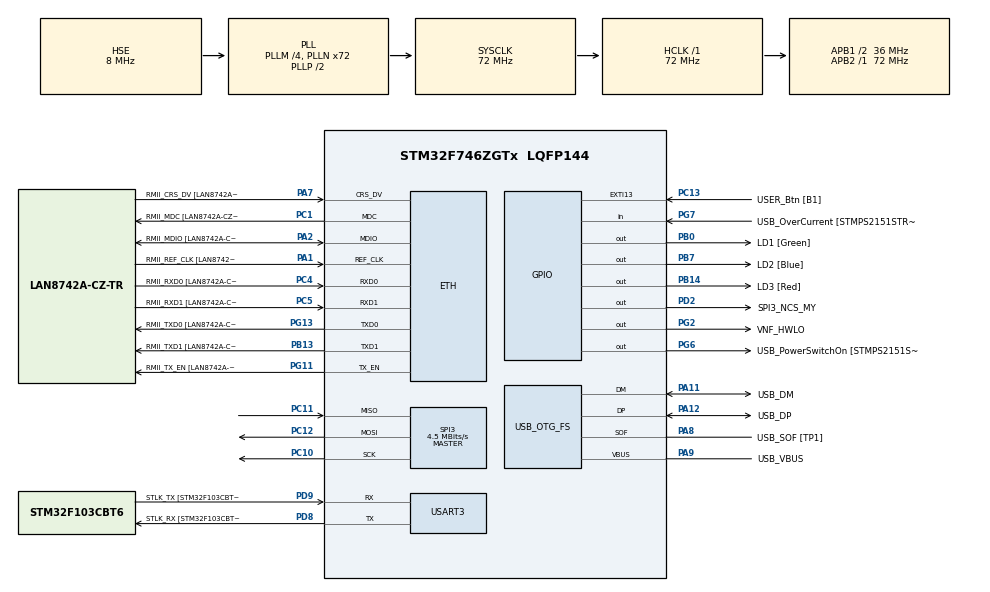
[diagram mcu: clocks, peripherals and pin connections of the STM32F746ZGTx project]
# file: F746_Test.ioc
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ETH.MediaInterface=HAL_ETH_RMII_MODE
ETH.PHY_Name=LAN8742A_PHY_ADDRESS
ETH.PHY_Value=0
ETH.PhyAddress=0
Mcu.Family=STM32F7
Mcu.Name=STM32F746ZGTx
Mcu.Package=LQFP144
NVIC.PriorityGroup=NVIC_PRIORITYGROUP_4
PA1.GPIO_Label=RMII_REF_CLK [LAN8742A-CZ-TR_REFCLK0]
PA1.Mode=RMII
PA1.Signal=ETH_REF_CLK
PA10.GPIO_Label=USB_ID
PA10.Signal=USB_OTG_FS_ID
PA11.GPIO_Label=USB_DM
PA11.Mode=Device_Only
PA11.Signal=USB_OTG_FS_DM
PA12.GPIO_Label=USB_DP
PA12.Mode=Device_Only
PA12.Signal=USB_OTG_FS_DP
PA13.GPIO_Label=TMS
PA13.Mode=Serial_Wire
PA13.Signal=SYS_JTMS-SWDIO
PA14.GPIO_Label=TCK
PA14.Mode=Serial_Wire
PA14.Signal=SYS_JTCK-SWCLK
PA2.GPIO_Label=RMII_MDIO [LAN8742A-CZ-TR_MDIO]
PA2.Mode=RMII
PA2.Signal=ETH_MDIO
PA7.GPIO_Label=RMII_CRS_DV [LAN8742A-CZ-TR_CRS_DV]
PA7.Mode=RMII
PA7.Signal=ETH_CRS_DV
PA8.GPIO_Label=USB_SOF [TP1]
PA8.Mode=Activate_SOF_FS
PA8.Signal=USB_OTG_FS_SOF
PA9.GPIO_Label=USB_VBUS
PA9.Mode=Activate_VBUS
PA9.Signal=USB_OTG_FS_VBUS
PB0.GPIO_Label=LD1 [Green]
PB0.Signal=GPIO_Output
PB13.GPIO_Label=RMII_TXD1 [LAN8742A-CZ-TR_TXD1]
PB13.Mode=RMII
PB13.Signal=ETH_TXD1
PB14.GPIO_Label=LD3 [Red]
PB14.Signal=GPIO_Output
PB3.GPIO_Label=SW0
PB3.Signal=SYS_JTDO-SWO
PB7.GPIO_Label=LD2 [Blue]
PB7.Signal=GPIO_Output
PC1.GPIO_Label=RMII_MDC [LAN8742A-CZ-TR_MDC]
PC1.Mode=RMII
PC1.Signal=ETH_MDC
PC10.Mode=Full_Duplex_Master
PC10.Signal=SPI3_SCK
PC11.Mode=Full_Duplex_Master
PC11.Signal=SPI3_MISO
PC12.Mode=Full_Duplex_Master
PC12.Signal=SPI3_MOSI
PC13.GPIO_Label=USER_Btn [B1]
PC13.Signal=GPXTI13
PC14/OSC32_IN.Mode=LSE-External-Oscillator
PC14/OSC32_IN.Signal=RCC_OSC32_IN
PC15/OSC32_OUT.Mode=LSE-External-Oscillator
PC15/OSC32_OUT.Signal=RCC_OSC32_OUT
PC4.GPIO_Label=RMII_RXD0 [LAN8742A-CZ-TR_RXD0]
PC4.Mode=RMII
PC4.Signal=ETH_RXD0
PC5.GPIO_Label=RMII_RXD1 [LAN8742A-CZ-TR_RXD1]
PC5.Mode=RMII
PC5.Signal=ETH_RXD1
PD2.GPIO_Label=SPI3_NCS_MY
PD2.Signal=GPIO_Output
PD8.GPIO_Label=STLK_RX [STM32F103CBT6_PA3]
PD8.Mode=Asynchronous
PD8.Signal=USART3_TX
PD9.GPIO_Label=STLK_TX [STM32F103CBT6_PA2]
PD9.Mode=Asynchronous
PD9.Signal=USART3_RX
PG11.GPIO_Label=RMII_TX_EN [LAN8742A-CZ-TR_TXEN]
PG11.Mode=RMII
PG11.Signal=ETH_TX_EN
PG13.GPIO_Label=RMII_TXD0 [LAN8742A-CZ-TR_TXD0]
PG13.Mode=RMII
PG13.Signal=ETH_TXD0
PG2.GPIO_Label=VNF_HWLO
PG2.Signal=GPIO_Output
PG6.GPIO_Label=USB_PowerSwitchOn [STMPS2151STR_EN]
PG6.Signal=GPIO_Output
PG7.GPIO_Label=USB_OverCurrent [STMPS2151STR_FAULT]
PG7.Signal=GPIO_Input
PH0/OSC_IN.GPIO_Label=MCO [STM32F103CBT6_PA8]
PH0/OSC_IN.Mode=HSE-External-Clock-Source
PH0/OSC_IN.Signal=RCC_OSC_IN
PH1/OSC_OUT.Mode=HSE-External-Clock-Source
PH1/OSC_OUT.Signal=RCC_OSC_OUT
ProjectManager.HeapSize=0x200
ProjectManager.StackSize=0x400
ProjectManager.TargetToolchain=STM32CubeIDE
RCC.48MHZClocksFreq_Value=24000000
RCC.AHBFreq_Value=72000000
RCC.APB1CLKDivider=RCC_HCLK_DIV2
RCC.APB1Freq_Value=36000000
RCC.APB1TimFreq_Value=72000000
RCC.APB2Freq_Value=72000000
RCC.APB2TimFreq_Value=72000000
RCC.CortexFreq_Value=72000000
RCC.HCLKFreq_Value=72000000
RCC.HSE_VALUE=8000000
RCC.HSI_VALUE=16000000
RCC.PLLM=4
RCC.PLLMUL=RCC_PLL_MUL9
RCC.PLLN=72
RCC.PLLQ=3
RCC.PRESCALERUSB=RCC_USBCLKSOURCE_PLL_DIV1_5
RCC.SYSCLKFreq_VALUE=72000000
RCC.SYSCLKSource=RCC_SYSCLKSOURCE_PLLCLK
RCC.SYSCLKSourceVirtual=RCC_SYSCLKSOURCE_PLLCLK
RCC.USBFreq_Value=48000000
RCC.VCOOutputFreq_Value=144000000
SPI3.BaudRatePrescaler=SPI_BAUDRATEPRESCALER_8
SPI3.CalculateBaudRate=4.5 MBits/s
SPI3.DataSize=SPI_DATASIZE_8BIT
SPI3.Direction=SPI_DIRECTION_2LINES
SPI3.Mode=SPI_MODE_MASTER
SPI3.NSSPMode=SPI_NSS_PULSE_DISABLE
SPI3.VirtualType=VM_MASTER
USART3.VirtualMode-Asynchronous=VM_ASYNC
USB_OTG_FS.VirtualMode=Device_Only
board=NUCLEO-F746ZG

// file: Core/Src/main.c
/* USER CODE BEGIN Header */
/**
  ******************************************************************************
  * @file           : main.c
  * @brief          : Main program body
  ******************************************************************************
  * @attention
  *
  * Copyright (c) 2023 STMicroelectronics.
  * All rights reserved.
  *
  * This software is licensed under terms that can be found in the LICENSE file
  * in the root directory of this software component.
  * If no LICENSE file comes with this software, it is provided AS-IS.
  *
  ******************************************************************************
  */
/* USER CODE END Header */
#include "main.h"
#include "string.h"

/* USER CODE BEGIN Includes */
#include "vnf1048.h"
/* USER CODE END Includes */

#if defined ( __ICCARM__ ) /*!< IAR Compiler */
#pragma location=0x2004c000
ETH_DMADescTypeDef  DMARxDscrTab[ETH_RX_DESC_CNT]; /* Ethernet Rx DMA Descriptors */
#pragma location=0x2004c0a0
ETH_DMADescTypeDef  DMATxDscrTab[ETH_TX_DESC_CNT]; /* Ethernet Tx DMA Descriptors */

#elif defined ( __CC_ARM )  /* MDK ARM Compiler */

__attribute__((at(0x2004c000))) ETH_DMADescTypeDef  DMARxDscrTab[ETH_RX_DESC_CNT]; /* Ethernet Rx DMA Descriptors */
__attribute__((at(0x2004c0a0))) ETH_DMADescTypeDef  DMATxDscrTab[ETH_TX_DESC_CNT]; /* Ethernet Tx DMA Descriptors */

#elif defined ( __GNUC__ ) /* GNU Compiler */
ETH_DMADescTypeDef DMARxDscrTab[ETH_RX_DESC_CNT] __attribute__((section(".RxDecripSection"))); /* Ethernet Rx DMA Descriptors */
ETH_DMADescTypeDef DMATxDscrTab[ETH_TX_DESC_CNT] __attribute__((section(".TxDecripSection")));   /* Ethernet Tx DMA Descriptors */

#endif

ETH_TxPacketConfig TxConfig;

ETH_HandleTypeDef heth;

SPI_HandleTypeDef hspi3;

UART_HandleTypeDef huart3;

PCD_HandleTypeDef hpcd_USB_OTG_FS;

/* USER CODE BEGIN PV */
#ifdef __GNUC__
#define PUTCHAR_PROTOTYPE int __io_putchar(int ch)
#else
#define PUTCHAR_PROTOTYPE int fputc(int ch, FILE *f)
#endif

/*PUTCHAR_PROTOTYPE
{
    HAL_UART_Transmit(&huart1, (uint8_t *)&ch, 1, HAL_MAX_DELAY);
    return ch;
}*/
/* USER CODE END PV */

void SystemClock_Config(void);
static void MX_GPIO_Init(void);
static void MX_ETH_Init(void);
static void MX_SPI3_Init(void);
static void MX_USART3_UART_Init(void);
static void MX_USB_OTG_FS_PCD_Init(void);
/* USER CODE BEGIN PFP */
/* VNF declaration */
VNF1048_HandleTypeDef vnf1;

/* USER CODE END PFP */

/* USER CODE BEGIN 0 */
volatile uint8_t important_data[4] = {0x00, 0x00, 0x00, 0x00};
volatile int32_t read_time = 0x30;
volatile uint8_t addr = 0x00;
/* USER CODE END 0 */

int main(void)
{

  /* MCU Configuration--------------------------------------------------------*/

  /* Reset of all peripherals, Initializes the Flash interface and the Systick. */
  HAL_Init();

  /* Configure the system clock */
  SystemClock_Config();

  /* Initialize all configured peripherals */
  MX_GPIO_Init();
  MX_ETH_Init();
  MX_SPI3_Init();
  MX_USART3_UART_Init();
  MX_USB_OTG_FS_PCD_Init();
  /* USER CODE BEGIN 2 */
  //printf("\n ========== VNF1048 - TEST ========== \n");
  vnf1.hspi_vnf = &hspi3;
  vnf1.CS_Port = SPI3_NCS_MY_GPIO_Port;
  vnf1.CS_Pin = SPI3_NCS_MY_Pin;

  vnf1.HWLO_Port = VNF_HWLO_GPIO_Port;
  vnf1.HWLO_Pin = VNF_HWLO_Pin;

  //vnf1.wd_tim = &htim7;
  vnf_init(&vnf1);
  /* USER CODE END 2 */

  /* Infinite loop */
  while (1)
  {
    memset(important_data, 0x11, 4);
    int32_t start = HAL_GetTick();
    for(int i=VNF_ROM_COMPANY_CODE; i < VNF_ROM_PRODUCT_CODE_4; i++)
    {
        addr = i;
        vnf_read_rom(&vnf1, i, important_data);
        read_time = HAL_GetTick() - start;
        HAL_Delay(100);
        HAL_GPIO_TogglePin(LD2_GPIO_Port, LD2_Pin);
    }

  }
}

void SystemClock_Config(void)
{
  RCC_OscInitTypeDef RCC_OscInitStruct = {0};
  RCC_ClkInitTypeDef RCC_ClkInitStruct = {0};

  /** Configure LSE Drive Capability
  */
  HAL_PWR_EnableBkUpAccess();

  /** Configure the main internal regulator output voltage
  */
  __HAL_RCC_PWR_CLK_ENABLE();
  __HAL_PWR_VOLTAGESCALING_CONFIG(PWR_REGULATOR_VOLTAGE_SCALE3);

  /** Initializes the RCC Oscillators according to the specified parameters
  * in the RCC_OscInitTypeDef structure.
  */
  RCC_OscInitStruct.OscillatorType = RCC_OSCILLATORTYPE_HSE;
  RCC_OscInitStruct.HSEState = RCC_HSE_BYPASS;
  RCC_OscInitStruct.PLL.PLLState = RCC_PLL_ON;
  RCC_OscInitStruct.PLL.PLLSource = RCC_PLLSOURCE_HSE;
  RCC_OscInitStruct.PLL.PLLM = 4;
  RCC_OscInitStruct.PLL.PLLN = 72;
  RCC_OscInitStruct.PLL.PLLP = RCC_PLLP_DIV2;
  RCC_OscInitStruct.PLL.PLLQ = 3;
  if (HAL_RCC_OscConfig(&RCC_OscInitStruct) != HAL_OK)
  {
    Error_Handler();
  }

  /** Initializes the CPU, AHB and APB buses clocks
  */
  RCC_ClkInitStruct.ClockType = RCC_CLOCKTYPE_HCLK|RCC_CLOCKTYPE_SYSCLK
                              |RCC_CLOCKTYPE_PCLK1|RCC_CLOCKTYPE_PCLK2;
  RCC_ClkInitStruct.SYSCLKSource = RCC_SYSCLKSOURCE_PLLCLK;
  RCC_ClkInitStruct.AHBCLKDivider = RCC_SYSCLK_DIV1;
  RCC_ClkInitStruct.APB1CLKDivider = RCC_HCLK_DIV2;
  RCC_ClkInitStruct.APB2CLKDivider = RCC_HCLK_DIV1;

  if (HAL_RCC_ClockConfig(&RCC_ClkInitStruct, FLASH_LATENCY_2) != HAL_OK)
  {
    Error_Handler();
  }
}

static void MX_ETH_Init(void)
{

   static uint8_t MACAddr[6];

  heth.Instance = ETH;
  MACAddr[0] = 0x00;
  MACAddr[1] = 0x80;
  MACAddr[2] = 0xE1;
  MACAddr[3] = 0x00;
  MACAddr[4] = 0x00;
  MACAddr[5] = 0x00;
  heth.Init.MACAddr = &MACAddr[0];
  heth.Init.MediaInterface = HAL_ETH_RMII_MODE;
  heth.Init.TxDesc = DMATxDscrTab;
  heth.Init.RxDesc = DMARxDscrTab;
  heth.Init.RxBuffLen = 1524;

  if (HAL_ETH_Init(&heth) != HAL_OK)
  {
    Error_Handler();
  }

  memset(&TxConfig, 0 , sizeof(ETH_TxPacketConfig));
  TxConfig.Attributes = ETH_TX_PACKETS_FEATURES_CSUM | ETH_TX_PACKETS_FEATURES_CRCPAD;
  TxConfig.ChecksumCtrl = ETH_CHECKSUM_IPHDR_PAYLOAD_INSERT_PHDR_CALC;
  TxConfig.CRCPadCtrl = ETH_CRC_PAD_INSERT;

}

static void MX_SPI3_Init(void)
{

  /* SPI3 parameter configuration*/
  hspi3.Instance = SPI3;
  hspi3.Init.Mode = SPI_MODE_MASTER;
  hspi3.Init.Direction = SPI_DIRECTION_2LINES;
  hspi3.Init.DataSize = SPI_DATASIZE_8BIT;
  hspi3.Init.CLKPolarity = SPI_POLARITY_LOW;
  hspi3.Init.CLKPhase = SPI_PHASE_1EDGE;
  hspi3.Init.NSS = SPI_NSS_SOFT;
  hspi3.Init.BaudRatePrescaler = SPI_BAUDRATEPRESCALER_8;
  hspi3.Init.FirstBit = SPI_FIRSTBIT_MSB;
  hspi3.Init.TIMode = SPI_TIMODE_DISABLE;
  hspi3.Init.CRCCalculation = SPI_CRCCALCULATION_DISABLE;
  hspi3.Init.CRCPolynomial = 7;
  hspi3.Init.CRCLength = SPI_CRC_LENGTH_DATASIZE;
  hspi3.Init.NSSPMode = SPI_NSS_PULSE_DISABLE;
  if (HAL_SPI_Init(&hspi3) != HAL_OK)
  {
    Error_Handler();
  }

}

static void MX_USART3_UART_Init(void)
{

  huart3.Instance = USART3;
  huart3.Init.BaudRate = 115200;
  huart3.Init.WordLength = UART_WORDLENGTH_8B;
  huart3.Init.StopBits = UART_STOPBITS_1;
  huart3.Init.Parity = UART_PARITY_NONE;
  huart3.Init.Mode = UART_MODE_TX_RX;
  huart3.Init.HwFlowCtl = UART_HWCONTROL_NONE;
  huart3.Init.OverSampling = UART_OVERSAMPLING_16;
  huart3.Init.OneBitSampling = UART_ONE_BIT_SAMPLE_DISABLE;
  huart3.AdvancedInit.AdvFeatureInit = UART_ADVFEATURE_NO_INIT;
  if (HAL_UART_Init(&huart3) != HAL_OK)
  {
    Error_Handler();
  }

}

static void MX_USB_OTG_FS_PCD_Init(void)
{

  hpcd_USB_OTG_FS.Instance = USB_OTG_FS;
  hpcd_USB_OTG_FS.Init.dev_endpoints = 6;
  hpcd_USB_OTG_FS.Init.speed = PCD_SPEED_FULL;
  hpcd_USB_OTG_FS.Init.dma_enable = DISABLE;
  hpcd_USB_OTG_FS.Init.phy_itface = PCD_PHY_EMBEDDED;
  hpcd_USB_OTG_FS.Init.Sof_enable = ENABLE;
  hpcd_USB_OTG_FS.Init.low_power_enable = DISABLE;
  hpcd_USB_OTG_FS.Init.lpm_enable = DISABLE;
  hpcd_USB_OTG_FS.Init.vbus_sensing_enable = ENABLE;
  hpcd_USB_OTG_FS.Init.use_dedicated_ep1 = DISABLE;
  if (HAL_PCD_Init(&hpcd_USB_OTG_FS) != HAL_OK)
  {
    Error_Handler();
  }

}

static void MX_GPIO_Init(void)
{
  GPIO_InitTypeDef GPIO_InitStruct = {0};

  /* GPIO Ports Clock Enable */
  __HAL_RCC_GPIOC_CLK_ENABLE();
  __HAL_RCC_GPIOH_CLK_ENABLE();
  __HAL_RCC_GPIOA_CLK_ENABLE();
  __HAL_RCC_GPIOB_CLK_ENABLE();
  __HAL_RCC_GPIOD_CLK_ENABLE();
  __HAL_RCC_GPIOG_CLK_ENABLE();

  /*Configure GPIO pin Output Level */
  HAL_GPIO_WritePin(GPIOB, LD1_Pin|LD3_Pin|LD2_Pin, GPIO_PIN_RESET);

  /*Configure GPIO pin Output Level */
  HAL_GPIO_WritePin(GPIOG, VNF_HWLO_Pin|USB_PowerSwitchOn_Pin, GPIO_PIN_RESET);

  /*Configure GPIO pin Output Level */
  HAL_GPIO_WritePin(SPI3_NCS_MY_GPIO_Port, SPI3_NCS_MY_Pin, GPIO_PIN_RESET);

  /*Configure GPIO pin : USER_Btn_Pin */
  GPIO_InitStruct.Pin = USER_Btn_Pin;
  GPIO_InitStruct.Mode = GPIO_MODE_IT_RISING;
  GPIO_InitStruct.Pull = GPIO_NOPULL;
  HAL_GPIO_Init(USER_Btn_GPIO_Port, &GPIO_InitStruct);

  /*Configure GPIO pins : LD1_Pin LD3_Pin LD2_Pin */
  GPIO_InitStruct.Pin = LD1_Pin|LD3_Pin|LD2_Pin;
  GPIO_InitStruct.Mode = GPIO_MODE_OUTPUT_PP;
  GPIO_InitStruct.Pull = GPIO_NOPULL;
  GPIO_InitStruct.Speed = GPIO_SPEED_FREQ_LOW;
  HAL_GPIO_Init(GPIOB, &GPIO_InitStruct);

  /*Configure GPIO pins : VNF_HWLO_Pin USB_PowerSwitchOn_Pin */
  GPIO_InitStruct.Pin = VNF_HWLO_Pin|USB_PowerSwitchOn_Pin;
  GPIO_InitStruct.Mode = GPIO_MODE_OUTPUT_PP;
  GPIO_InitStruct.Pull = GPIO_NOPULL;
  GPIO_InitStruct.Speed = GPIO_SPEED_FREQ_LOW;
  HAL_GPIO_Init(GPIOG, &GPIO_InitStruct);

  /*Configure GPIO pin : USB_OverCurrent_Pin */
  GPIO_InitStruct.Pin = USB_OverCurrent_Pin;
  GPIO_InitStruct.Mode = GPIO_MODE_INPUT;
  GPIO_InitStruct.Pull = GPIO_NOPULL;
  HAL_GPIO_Init(USB_OverCurrent_GPIO_Port, &GPIO_InitStruct);

  /*Configure GPIO pin : SPI3_NCS_MY_Pin */
  GPIO_InitStruct.Pin = SPI3_NCS_MY_Pin;
  GPIO_InitStruct.Mode = GPIO_MODE_OUTPUT_PP;
  GPIO_InitStruct.Pull = GPIO_NOPULL;
  GPIO_InitStruct.Speed = GPIO_SPEED_FREQ_LOW;
  HAL_GPIO_Init(SPI3_NCS_MY_GPIO_Port, &GPIO_InitStruct);

}

void Error_Handler(void)
{
  __disable_irq();
  while (1)
  {
  }
}
